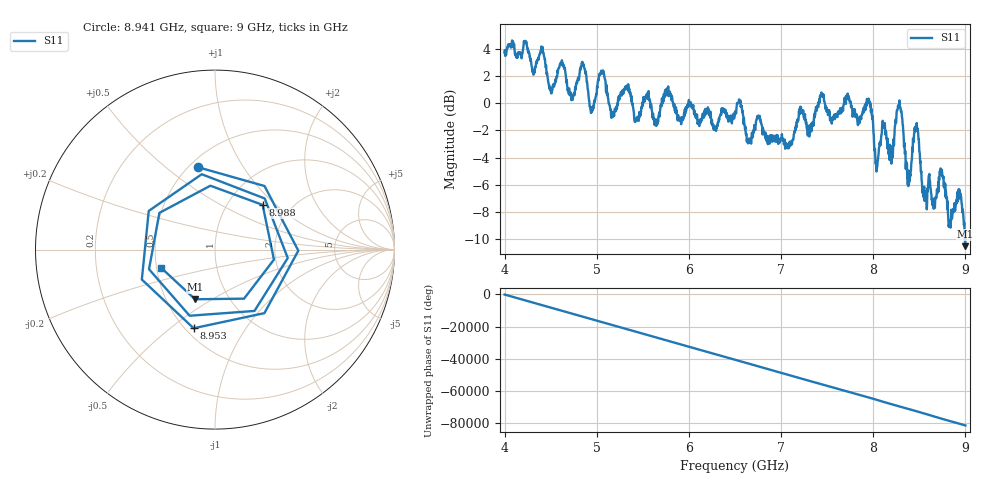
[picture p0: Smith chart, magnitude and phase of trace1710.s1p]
! Created with skrf 1.8.0 (http://scikit-rf.org).
# Hz S RI R 50.0
!freq ReS11 ImS11
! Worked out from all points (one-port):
!   1601 points, 4 GHz to 9 GHz, reference 50 ohm
!   lowest |S11| = -10.5 dB at 8.997 GHz (marker M1), VSWR 1.85, Z = 34.7 - j21.1 ohm
!   |S11| at or under -10 dB: 8.994214 GHz to 8.999836 GHz (5.622 MHz wide, 0.0625 % of centre)
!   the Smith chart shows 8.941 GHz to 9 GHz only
!   S11 on the Smith chart (normalised r, x): 8.941 GHz: 0.55, +0.65; 8.953 GHz: 0.55, -0.61; 8.988 GHz: 1.44, +0.83; 9 GHz: 0.53, -0.12
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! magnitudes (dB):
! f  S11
! 4 GHz  3.7
! 4.406 GHz  4.0
! 4.509 GHz  0.9
! 4.625 GHz  2.8
! 4.728 GHz  0.6
! 4.856 GHz  2.7
! 4.944 GHz  -0.7
! 5.05 GHz  2.3
! 5.162 GHz  -0.7
! 5.25 GHz  0.6
! 5.875 GHz  -1.1
! 6.5 GHz  -0.6
! 7.125 GHz  -2.7
! 7.438 GHz  0.8
! 7.75 GHz  0.1
! 7.956 GHz  0.2
! 8.038 GHz  -5.0
! 8.112 GHz  -1.5
! 8.194 GHz  -3.4
! 8.288 GHz  -0.3
! 8.375 GHz  -6.0
! 8.469 GHz  -1.6
! 8.559 GHz  -7.0
! 8.941 GHz  -6.6
! 8.953 GHz  -6.9
! 8.988 GHz  -8.8
! 8.997 GHz  -10.5
! 9 GHz  -10.0
